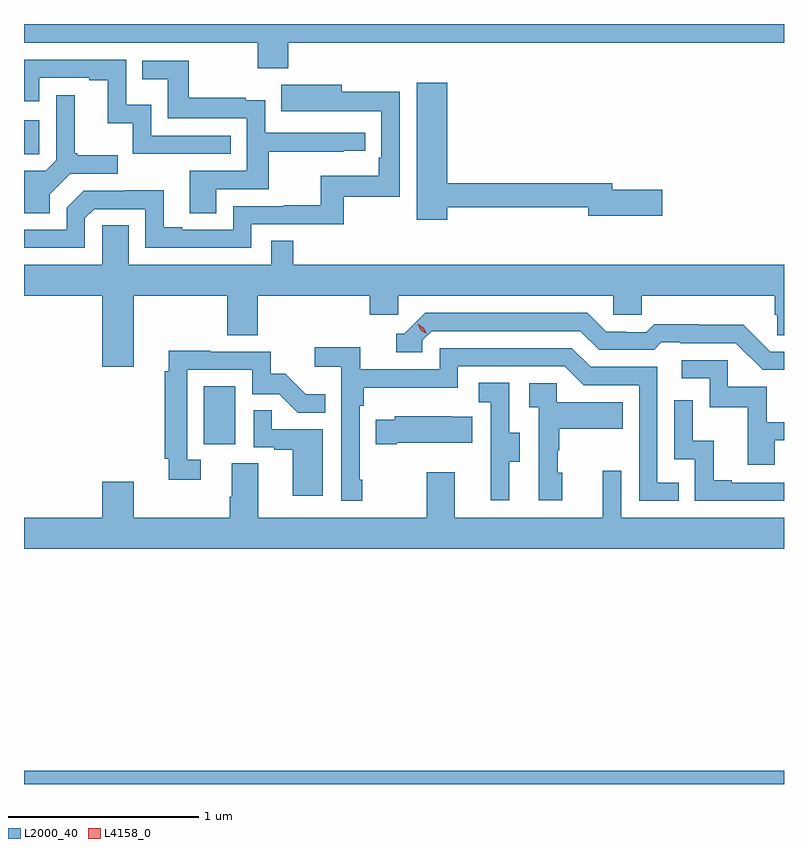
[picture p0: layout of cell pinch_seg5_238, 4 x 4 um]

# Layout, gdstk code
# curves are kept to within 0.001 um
import gdstk
lib = gdstk.Library(unit=1e-6, precision=1e-09)
def R(c, l, rs):  # rectangles x0, y0, x1, y1
    for r in rs: c.add(gdstk.rectangle(r[:2], r[2:], *l))
def P(c, l, *ps):  # polygons
    for p in ps: c.add(gdstk.Polygon(p, *l))
L2000_40 = (2000, 40)
L4158_0 = (4158, 0)

pinch_seg5_238 = lib.new_cell('pinch_seg5_238')
R(pinch_seg5_238, L2000_40, [(967.791,892.819,971.791,892.888), (968.738,894.606,968.902,894.913), (967.791,896.133,967.872,896.313)])
P(pinch_seg5_238, L2000_40, [(969.182,896.72),(971.791,896.72),(971.791,896.819),(967.791,896.819),(967.791,896.72),(969.022,896.72),(969.022,896.585),(969.182,896.585)],
  [(968.879,896.232),(968.46,896.232),(968.46,896.395),(968.328,896.395),(968.328,896.631),(967.791,896.631),(967.791,896.412),(967.872,896.412),(967.872,896.535),(968.135,896.535),(968.135,896.523),(968.231,896.523),(968.231,896.297),(968.364,896.297),(968.364,896.136),(968.879,896.136)],
  [(968.803,895.95),(969.08,895.95),(969.08,896.146),(969.473,896.146),(969.473,896.151),(969.586,896.151),(969.586,896.247),(969.06,896.247),(969.06,896.419),(968.957,896.419),(968.957,896.431),(968.659,896.431),(968.659,896.625),(968.413,896.625),(968.413,896.528),(968.548,896.528),(968.548,896.322),(968.964,896.322),(968.964,896.046),(968.663,896.046),(968.663,895.822),(968.803,895.822)],
  [(970.018,895.854),(970.76,895.854),(970.76,895.811),(971.149,895.811),(971.149,895.946),(970.888,895.946),(970.888,895.982),(970.018,895.982),(970.018,896.509),(969.857,896.509),(969.857,895.788),(970.018,895.788)],
  [(968.112,895.797),(968.16,895.845),(968.43,895.845),(968.43,895.641),(968.988,895.641),(968.988,895.764),(969.475,895.764),(969.475,895.911),(969.768,895.911),(969.768,896.462),(969.463,896.462),(969.463,896.5),(969.145,896.5),(969.145,896.36),(969.672,896.361),(969.672,896.116),(969.659,896.116),(969.659,896.02),(969.354,896.02),(969.354,895.865),(969.157,895.865),(969.157,895.86),(968.892,895.86),(968.892,895.737),(968.623,895.737),(968.623,895.75),(968.527,895.75),(968.527,895.943),(968.322,895.943),(968.322,895.941),(968.106,895.941),(968.016,895.851),(968.016,895.737),(967.791,895.737),(967.791,895.641),(968.112,895.641)],
  [(967.927,895.924),(968.034,896.031),(968.284,896.031),(968.284,896.128),(968.071,896.128),(968.071,896.14),(968.059,896.14),(968.059,896.443),(967.962,896.443),(967.962,896.103),(967.905,896.046),(967.791,896.046),(967.791,895.822),(967.927,895.822)],
  [(968.368,895.388),(968.86,895.388),(968.86,895.18),(969.02,895.18),(969.02,895.388),(969.611,895.388),(969.611,895.29),(969.762,895.29),(969.762,895.388),(970.893,895.388),(970.893,895.29),(971.043,895.29),(971.043,895.388),(971.741,895.388),(971.741,895.29),(971.755,895.29),(971.755,895.18),(971.791,895.18),(971.791,895.552),(969.209,895.552),(969.209,895.679),(969.093,895.679),(969.093,895.552),(968.341,895.552),(968.341,895.76),(968.202,895.76),(968.202,895.552),(967.791,895.552),(967.791,895.388),(968.204,895.388),(968.204,895.014),(968.368,895.014)],
  [(971.791,895.095),(971.718,895.095),(971.576,895.237),(971.34,895.237),(971.34,895.24),(971.107,895.24),(971.065,895.197),(970.962,895.197),(970.962,895.2),(970.855,895.2),(970.756,895.299),(969.903,895.299),(969.792,895.188),(969.749,895.188),(969.749,895.092),(969.888,895.092),(969.888,895.155),(969.936,895.203),(970.719,895.203),(970.818,895.104),(971.107,895.104),(971.146,895.143),(971.245,895.143),(971.245,895.14),(971.538,895.14),(971.679,894.999),(971.791,894.999)],
  [(969.571,894.421),(969.558,894.421),(969.558,894.809),(969.578,894.809),(969.578,894.905),(970.074,894.905),(970.074,895.017),(970.638,895.017),(970.737,894.918),(971.028,894.918),(971.028,894.309),(971.237,894.309),(971.237,894.405),(971.124,894.405),(971.124,895.014),(970.774,895.014),(970.675,895.113),(969.978,895.113),(969.978,895.002),(969.56,895.002),(969.56,895.118),(969.321,895.118),(969.321,895.016),(969.462,895.016),(969.462,894.309),(969.571,894.309)],
  [(968.722,894.525),(968.649,894.525),(968.649,894.999),(968.991,894.999),(968.991,894.87),(969.135,894.87),(969.233,894.772),(969.377,894.772),(969.377,894.871),(969.273,894.871),(969.166,894.978),(969.09,894.978),(969.09,895.095),(968.771,895.095),(968.771,895.1),(968.552,895.1),(968.552,894.992),(968.533,894.992),(968.533,894.532),(968.552,894.532),(968.552,894.42),(968.722,894.42)],
  [(971.743,894.627),(971.791,894.627),(971.791,894.723),(971.701,894.723),(971.701,894.909),(971.496,894.909),(971.496,895.05),(971.253,895.05),(971.253,894.954),(971.4,894.954),(971.4,894.801),(971.599,894.801),(971.599,894.498),(971.743,894.498)],
  [(970.345,894.514),(970.399,894.514),(970.399,894.669),(970.344,894.669),(970.344,894.932),(970.185,894.932),(970.185,894.829),(970.248,894.829),(970.248,894.525),(970.247,894.525),(970.247,894.312),(970.345,894.312)],
  [(970.624,894.456),(970.599,894.456),(970.599,894.575),(970.609,894.575),(970.609,894.689),(970.943,894.689),(970.943,894.829),(970.596,894.829),(970.596,894.927),(970.449,894.927),(970.449,894.803),(970.5,894.803),(970.5,894.312),(970.624,894.312)],
  [(971.791,894.405),(971.515,894.405),(971.515,894.418),(971.42,894.418),(971.42,894.626),(971.31,894.626),(971.31,894.838),(971.214,894.838),(971.214,894.528),(971.322,894.528),(971.322,894.309),(971.791,894.309)],
  [(969.364,894.687),(969.095,894.687),(969.095,894.785),(969,894.785),(969,894.591),(969.107,894.591),(969.107,894.579),(969.206,894.579),(969.206,894.336),(969.364,894.336)],
  [(969.754,894.614),(970.151,894.614),(970.151,894.751),(970.043,894.751),(970.043,894.754),(969.741,894.754),(969.741,894.736),(969.643,894.736),(969.643,894.607),(969.754,894.607)],
  [(971.791,894.22),(970.935,894.22),(970.935,894.469),(970.838,894.469),(970.838,894.22),(970.057,894.22),(970.057,894.46),(969.91,894.46),(969.91,894.22),(969.025,894.22),(969.025,894.506),(968.885,894.506),(968.885,894.332),(968.873,894.332),(968.873,894.22),(968.368,894.22),(968.368,894.409),(968.204,894.409),(968.204,894.22),(967.791,894.22),(967.791,894.056),(971.791,894.056)])
P(pinch_seg5_238, L4158_0, [(969.911,895.188),(969.88,895.208),(969.864,895.24),(969.864,895.241),(969.864,895.241),(969.895,895.221),(969.911,895.188),(969.911,895.188)])

lib.write_gds('pinch_seg5_238.gds')
